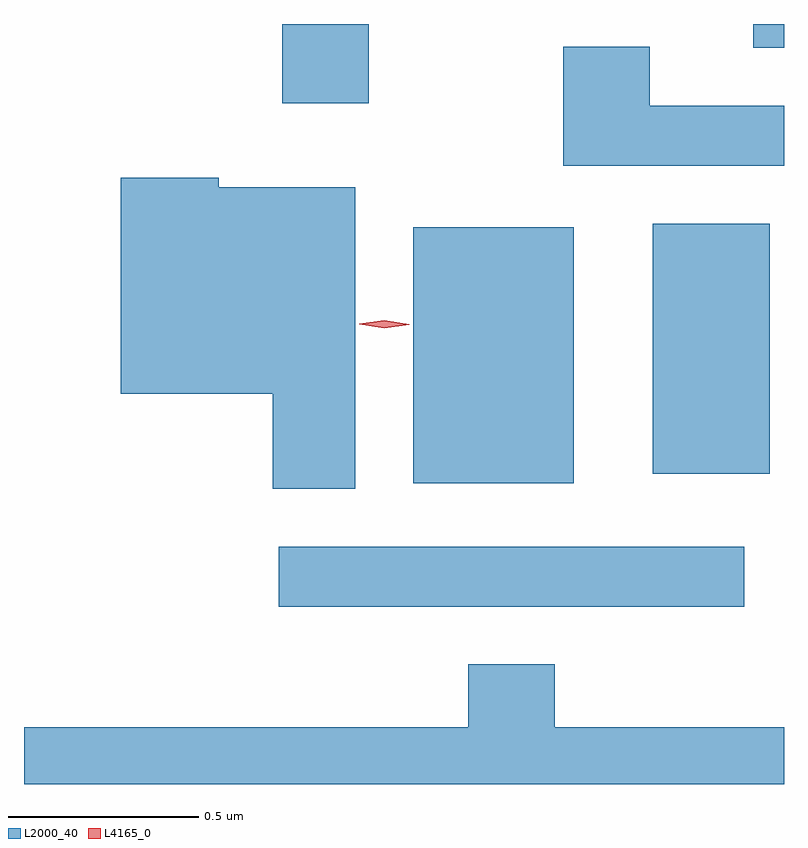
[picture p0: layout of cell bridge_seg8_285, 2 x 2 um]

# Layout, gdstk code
import gdstk
lib = gdstk.Library(unit=1e-6, precision=1e-09)
def R(c, l, rs):  # rectangles x0, y0, x1, y1
    for r in rs: c.add(gdstk.rectangle(r[:2], r[2:], *l))
def P(c, l, *ps):  # polygons
    for p in ps: c.add(gdstk.Polygon(p, *l))
L2000_40 = (2000, 40)
L4165_0 = (4165, 0)

bridge_seg8_285 = lib.new_cell('bridge_seg8_285')
R(bridge_seg8_285, L2000_40, [(1346.773,1828.121,1347.998,1828.279), (1347.126,1828.446,1347.549,1829.119), (1347.756,1828.471,1348.064,1829.129), (1346.781,1829.446,1347.009,1829.654), (1348.021,1829.591,1348.102,1829.654)])
P(bridge_seg8_285, L2000_40, [(1348.102,1829.439),(1347.749,1829.439),(1347.749,1829.594),(1347.521,1829.594),(1347.521,1829.281),(1348.102,1829.281)],
  [(1346.974,1829.224),(1346.614,1829.224),(1346.614,1829.249),(1346.356,1829.249),(1346.356,1828.681),(1346.756,1828.681),(1346.756,1828.431),(1346.974,1828.431)],
  [(1348.102,1827.804),(1347.499,1827.804),(1347.499,1827.969),(1347.271,1827.969),(1347.271,1827.804),(1346.102,1827.804),(1346.102,1827.654),(1348.102,1827.654)])
P(bridge_seg8_285, L4165_0, [(1347.05,1828.854),(1346.984,1828.864),(1346.984,1828.865),(1346.984,1828.865),(1347.05,1828.874),(1347.116,1828.864),(1347.116,1828.863),(1347.116,1828.863)])

lib.write_gds('bridge_seg8_285.gds')
